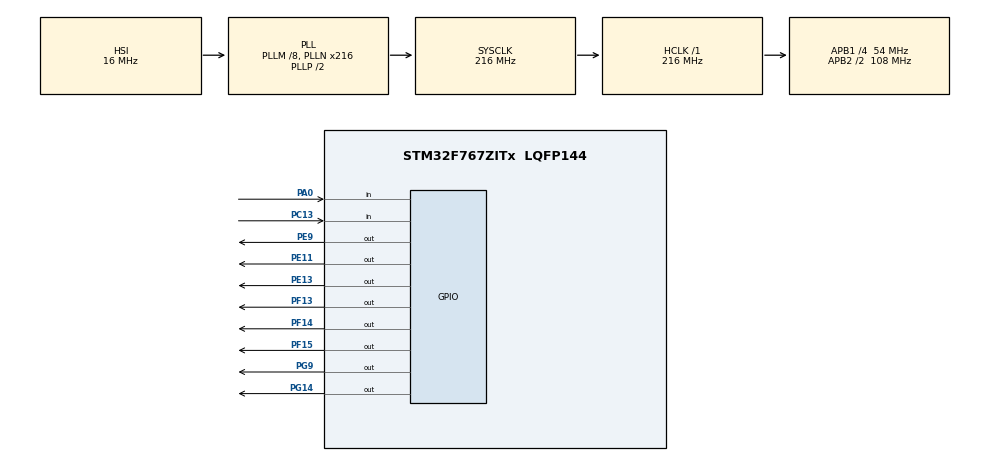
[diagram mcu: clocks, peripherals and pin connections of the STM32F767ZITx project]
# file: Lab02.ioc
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Mcu.Family=STM32F7
Mcu.Name=STM32F767ZITx
Mcu.Package=LQFP144
NVIC.PriorityGroup=NVIC_PRIORITYGROUP_4
PA0/WKUP.Signal=GPIO_Input
PC13.Signal=GPIO_Input
PE11.Signal=GPIO_Output
PE13.Signal=GPIO_Output
PE9.Signal=GPIO_Output
PF13.Signal=GPIO_Output
PF14.Signal=GPIO_Output
PF15.Signal=GPIO_Output
PG14.Signal=GPIO_Output
PG9.Signal=GPIO_Output
ProjectManager.HeapSize=0x200
ProjectManager.StackSize=0x400
ProjectManager.TargetToolchain=STM32CubeIDE
RCC.AHBFreq_Value=216000000
RCC.APB1CLKDivider=RCC_HCLK_DIV4
RCC.APB1Freq_Value=54000000
RCC.APB1TimFreq_Value=108000000
RCC.APB2CLKDivider=RCC_HCLK_DIV2
RCC.APB2Freq_Value=108000000
RCC.APB2TimFreq_Value=216000000
RCC.CortexFreq_Value=216000000
RCC.HCLKFreq_Value=216000000
RCC.HSE_VALUE=25000000
RCC.HSI_VALUE=16000000
RCC.LSE_VALUE=32768
RCC.PLLM=8
RCC.PLLN=216
RCC.SYSCLKFreq_VALUE=216000000
RCC.SYSCLKSource=RCC_SYSCLKSOURCE_PLLCLK
RCC.USBFreq_Value=216000000
RCC.VCOOutputFreq_Value=432000000
board=custom

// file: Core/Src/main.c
/* USER CODE BEGIN Header */
/**
 ******************************************************************************
 * @file           : main.c
 * @brief          : Main program body
 ******************************************************************************
 * @attention
 *
 * Copyright (c) 2023 STMicroelectronics.
 * All rights reserved.
 *
 * This software is licensed under terms that can be found in the LICENSE file
 * in the root directory of this software component.
 * If no LICENSE file comes with this software, it is provided AS-IS.
 *
 ******************************************************************************
 */
/* USER CODE END Header */
#include "main.h"

/* USER CODE BEGIN PV */
uint8_t current = 0;
uint8_t buttonstate = 0;
uint8_t state[9][8] = { { 0, 0, 0, 0, 0, 0, 0, 0 }, { 1, 0, 0, 0, 0, 0, 0, 0 },
		{ 0, 1, 0, 0, 0, 0, 0, 0 }, { 0, 0, 1, 0, 0, 0, 0, 0 }, { 0, 0, 0, 1, 0,
				0, 0, 0 }, { 0, 0, 0, 0, 1, 0, 0, 0 },
		{ 0, 0, 0, 0, 0, 1, 0, 0 }, { 0, 0, 0, 0, 0, 0, 1, 0 }, { 0, 0, 0, 0, 0,
				0, 0, 1 } };
uint8_t reverse = 0;
uint8_t debug = 0;
/* USER CODE END PV */

void SystemClock_Config(void);
static void MX_GPIO_Init(void);

int main(void) {

	/* MCU Configuration--------------------------------------------------------*/

	/* Reset of all peripherals, Initializes the Flash interface and the Systick. */
	HAL_Init();

	/* Configure the system clock */
	SystemClock_Config();

	/* Initialize all configured peripherals */
	MX_GPIO_Init();

	/* Infinite loop */
	while (1) {

		/* USER CODE BEGIN 3 */
		if (HAL_GPIO_ReadPin(GPIOC, GPIO_PIN_13) == GPIO_PIN_SET) {
			buttonstate = 1;
			if (current >= 8)
				current = 1;
			else
				current++;
		}
		HAL_Delay(300);
		HAL_GPIO_WritePin(GPIOG, GPIO_PIN_9, state[current][0]);
		HAL_GPIO_WritePin(GPIOG, GPIO_PIN_14, state[current][1]);
		HAL_GPIO_WritePin(GPIOF, GPIO_PIN_15, state[current][2]);
		HAL_GPIO_WritePin(GPIOE, GPIO_PIN_13, state[current][3]);
		HAL_GPIO_WritePin(GPIOF, GPIO_PIN_14, state[current][4]);
		HAL_GPIO_WritePin(GPIOE, GPIO_PIN_11, state[current][5]);
		HAL_GPIO_WritePin(GPIOE, GPIO_PIN_9, state[current][6]);
		HAL_GPIO_WritePin(GPIOF, GPIO_PIN_13, state[current][7]);

		if (HAL_GPIO_ReadPin(GPIOA, GPIO_PIN_0) == GPIO_PIN_RESET) {
			if (buttonstate == 1)
			{
				reverse = current - 1;
				for (reverse; reverse != current; reverse--) {
					if (reverse == 0)
					{
						reverse = 9;
					}
					if (reverse != 9)
					{
						HAL_Delay(300);
						HAL_GPIO_WritePin(GPIOG, GPIO_PIN_9, state[reverse][0]);
						HAL_GPIO_WritePin(GPIOG, GPIO_PIN_14,
								state[reverse][1]);
						HAL_GPIO_WritePin(GPIOF, GPIO_PIN_15,
								state[reverse][2]);
						HAL_GPIO_WritePin(GPIOE, GPIO_PIN_13,
								state[reverse][3]);
						HAL_GPIO_WritePin(GPIOF, GPIO_PIN_14,
								state[reverse][4]);
						HAL_GPIO_WritePin(GPIOE, GPIO_PIN_11,
								state[reverse][5]);
						HAL_GPIO_WritePin(GPIOE, GPIO_PIN_9, state[reverse][6]);
						HAL_GPIO_WritePin(GPIOF, GPIO_PIN_13,
								state[reverse][7]);
					}
				}
			}

			else {
				reverse = 8;
				for (reverse; reverse != 255; reverse--)
				{
					HAL_Delay(300);
					HAL_GPIO_WritePin(GPIOG, GPIO_PIN_9, state[reverse][0]);
					HAL_GPIO_WritePin(GPIOG, GPIO_PIN_14, state[reverse][1]);
					HAL_GPIO_WritePin(GPIOF, GPIO_PIN_15, state[reverse][2]);
					HAL_GPIO_WritePin(GPIOE, GPIO_PIN_13, state[reverse][3]);
					HAL_GPIO_WritePin(GPIOF, GPIO_PIN_14, state[reverse][4]);
					HAL_GPIO_WritePin(GPIOE, GPIO_PIN_11, state[reverse][5]);
					HAL_GPIO_WritePin(GPIOE, GPIO_PIN_9, state[reverse][6]);
					HAL_GPIO_WritePin(GPIOF, GPIO_PIN_13, state[reverse][7]);
				}
			}

		}
	}
	/* USER CODE END 3 */
}

void SystemClock_Config(void) {
	RCC_OscInitTypeDef RCC_OscInitStruct = { 0 };
	RCC_ClkInitTypeDef RCC_ClkInitStruct = { 0 };

	/** Configure the main internal regulator output voltage
	 */
	__HAL_RCC_PWR_CLK_ENABLE();
	__HAL_PWR_VOLTAGESCALING_CONFIG(PWR_REGULATOR_VOLTAGE_SCALE1);

	/** Initializes the RCC Oscillators according to the specified parameters
	 * in the RCC_OscInitTypeDef structure.
	 */
	RCC_OscInitStruct.OscillatorType = RCC_OSCILLATORTYPE_HSI;
	RCC_OscInitStruct.HSIState = RCC_HSI_ON;
	RCC_OscInitStruct.HSICalibrationValue = RCC_HSICALIBRATION_DEFAULT;
	RCC_OscInitStruct.PLL.PLLState = RCC_PLL_ON;
	RCC_OscInitStruct.PLL.PLLSource = RCC_PLLSOURCE_HSI;
	RCC_OscInitStruct.PLL.PLLM = 8;
	RCC_OscInitStruct.PLL.PLLN = 216;
	RCC_OscInitStruct.PLL.PLLP = RCC_PLLP_DIV2;
	RCC_OscInitStruct.PLL.PLLQ = 2;
	RCC_OscInitStruct.PLL.PLLR = 2;
	if (HAL_RCC_OscConfig(&RCC_OscInitStruct) != HAL_OK) {
		Error_Handler();
	}

	/** Activate the Over-Drive mode
	 */
	if (HAL_PWREx_EnableOverDrive() != HAL_OK) {
		Error_Handler();
	}

	/** Initializes the CPU, AHB and APB buses clocks
	 */
	RCC_ClkInitStruct.ClockType = RCC_CLOCKTYPE_HCLK | RCC_CLOCKTYPE_SYSCLK
			| RCC_CLOCKTYPE_PCLK1 | RCC_CLOCKTYPE_PCLK2;
	RCC_ClkInitStruct.SYSCLKSource = RCC_SYSCLKSOURCE_PLLCLK;
	RCC_ClkInitStruct.AHBCLKDivider = RCC_SYSCLK_DIV1;
	RCC_ClkInitStruct.APB1CLKDivider = RCC_HCLK_DIV4;
	RCC_ClkInitStruct.APB2CLKDivider = RCC_HCLK_DIV2;

	if (HAL_RCC_ClockConfig(&RCC_ClkInitStruct, FLASH_LATENCY_7) != HAL_OK) {
		Error_Handler();
	}
}

static void MX_GPIO_Init(void) {
	GPIO_InitTypeDef GPIO_InitStruct = { 0 };

	/* GPIO Ports Clock Enable */
	__HAL_RCC_GPIOC_CLK_ENABLE();
	__HAL_RCC_GPIOA_CLK_ENABLE();
	__HAL_RCC_GPIOF_CLK_ENABLE();
	__HAL_RCC_GPIOE_CLK_ENABLE();
	__HAL_RCC_GPIOG_CLK_ENABLE();

	/*Configure GPIO pin Output Level */
	HAL_GPIO_WritePin(GPIOF, GPIO_PIN_13 | GPIO_PIN_14 | GPIO_PIN_15,
			GPIO_PIN_RESET);

	/*Configure GPIO pin Output Level */
	HAL_GPIO_WritePin(GPIOE, GPIO_PIN_9 | GPIO_PIN_11 | GPIO_PIN_13,
			GPIO_PIN_RESET);

	/*Configure GPIO pin Output Level */
	HAL_GPIO_WritePin(GPIOG, GPIO_PIN_9 | GPIO_PIN_14, GPIO_PIN_RESET);

	/*Configure GPIO pin : PC13 */
	GPIO_InitStruct.Pin = GPIO_PIN_13;
	GPIO_InitStruct.Mode = GPIO_MODE_INPUT;
	GPIO_InitStruct.Pull = GPIO_NOPULL;
	HAL_GPIO_Init(GPIOC, &GPIO_InitStruct);

	/*Configure GPIO pin : PA0 */
	GPIO_InitStruct.Pin = GPIO_PIN_0;
	GPIO_InitStruct.Mode = GPIO_MODE_INPUT;
	GPIO_InitStruct.Pull = GPIO_NOPULL;
	HAL_GPIO_Init(GPIOA, &GPIO_InitStruct);

	/*Configure GPIO pins : PF13 PF14 PF15 */
	GPIO_InitStruct.Pin = GPIO_PIN_13 | GPIO_PIN_14 | GPIO_PIN_15;
	GPIO_InitStruct.Mode = GPIO_MODE_OUTPUT_PP;
	GPIO_InitStruct.Pull = GPIO_NOPULL;
	GPIO_InitStruct.Speed = GPIO_SPEED_FREQ_LOW;
	HAL_GPIO_Init(GPIOF, &GPIO_InitStruct);

	/*Configure GPIO pins : PE9 PE11 PE13 */
	GPIO_InitStruct.Pin = GPIO_PIN_9 | GPIO_PIN_11 | GPIO_PIN_13;
	GPIO_InitStruct.Mode = GPIO_MODE_OUTPUT_PP;
	GPIO_InitStruct.Pull = GPIO_NOPULL;
	GPIO_InitStruct.Speed = GPIO_SPEED_FREQ_LOW;
	HAL_GPIO_Init(GPIOE, &GPIO_InitStruct);

	/*Configure GPIO pins : PG9 PG14 */
	GPIO_InitStruct.Pin = GPIO_PIN_9 | GPIO_PIN_14;
	GPIO_InitStruct.Mode = GPIO_MODE_OUTPUT_PP;
	GPIO_InitStruct.Pull = GPIO_NOPULL;
	GPIO_InitStruct.Speed = GPIO_SPEED_FREQ_LOW;
	HAL_GPIO_Init(GPIOG, &GPIO_InitStruct);

}

void Error_Handler(void) {
	__disable_irq();
	while (1) {
	}
}
